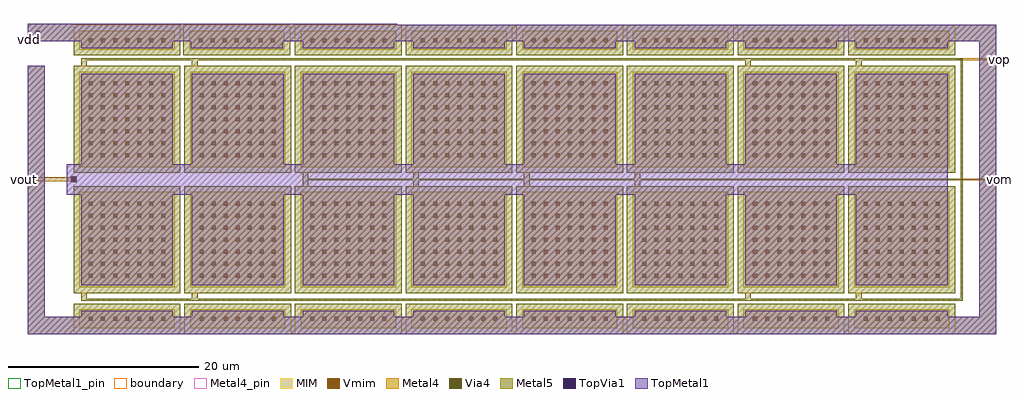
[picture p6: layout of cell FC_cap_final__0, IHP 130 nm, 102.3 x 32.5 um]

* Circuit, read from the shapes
.subckt FC_cap_final__0 vdd vom vop vout
XC1 vdd vdd cap_cmim w=10u l=2u m=16
XC2 vout vop cap_cmim w=10u l=10u m=8
XC3 vout vom cap_cmim w=10u l=10u m=8
.ends

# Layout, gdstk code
import gdstk
lib = gdstk.Library(unit=1e-6, precision=1e-09)
def R(c, l, rs):  # rectangles x0, y0, x1, y1
    for r in rs: c.add(gdstk.rectangle(r[:2], r[2:], *l))
def A(c, l, x, y, w, h, nx, ny, dx, dy):  # array of equal rectangles
    R(c, l, [(x+i*dx, y+j*dy, x+i*dx+w, y+j*dy+h) for i in range(nx) for j in range(ny)])
MIM = (36, 0)
Metal4 = (50, 0)
Metal4_pin = (50, 2)
Via4 = (66, 0)
Metal5 = (67, 0)
TopVia1 = (125, 0)
TopMetal1 = (126, 0)
TopMetal1_pin = (126, 2)
Vmim = (129, 0)
boundary = (189, 4)

cap_cmim_mv9cwz__0 = lib.new_cell('cap_cmim_MV9CWZ__0')
R(cap_cmim_mv9cwz__0, MIM, [(-5,-1,5,1)])
R(cap_cmim_mv9cwz__0, Metal5, [(-5.6,-1.6,5.6,1.6)])
R(cap_cmim_mv9cwz__0, TopMetal1, [(-4.8,-0.82,4.8,0.82)])
A(cap_cmim_mv9cwz__0, Vmim, -3.99, -0.21, 0.42, 0.42, 7, 1, 1.26, 0)
R(cap_cmim_mv9cwz__0, boundary, [(-5.6,-1.6,5.6,1.6)])
cap_cmim_mv9cwz__0.add(gdstk.Label('C1', (0,0), layer=126, texttype=25))
cap_cmim_mv9cwz__0.add(gdstk.Label('C2', (5.1,0), layer=67, texttype=25))

cap_cmim_rcjhdk__0 = lib.new_cell('cap_cmim_RCJHDK__0')
R(cap_cmim_rcjhdk__0, MIM, [(-5,-5,5,5)])
R(cap_cmim_rcjhdk__0, Metal5, [(-5.6,-5.6,5.6,5.6)])
R(cap_cmim_rcjhdk__0, TopMetal1, [(-4.8,-4.8,4.8,4.8)])
A(cap_cmim_rcjhdk__0, Vmim, -3.99, -3.99, 0.42, 0.42, 7, 7, 1.26, 1.26)
R(cap_cmim_rcjhdk__0, boundary, [(-5.6,-5.6,5.6,5.6)])
cap_cmim_rcjhdk__0.add(gdstk.Label('C1', (0,0), layer=126, texttype=25))
cap_cmim_rcjhdk__0.add(gdstk.Label('C2', (5.1,0), layer=67, texttype=25))

fc_cap_final__0 = lib.new_cell('FC_cap_final__0')
R(fc_cap_final__0, Metal4, [(-0.3,-0.8,0.35,-0.7), (-5.2,-0.7,0.35,-0.25), (91.9,-0.6,97.1,-0.4), (-0.3,-0.25,0.35,-0.15), (92.7,12,97.1,12.2)])
R(fc_cap_final__0, Metal4_pin, [(-5.2,-0.6,-5,-0.4), (96.9,-0.6,97.1,-0.4), (96.9,12,97.1,12.2)])
R(fc_cap_final__0, Via4, [(92.105,-0.595,92.295,-0.405), (-0.07,-0.57,0.12,-0.38), (92.905,12.005,93.095,12.195)])
A(fc_cap_final__0, Metal5, 24, -2, 0.6, 1.4, 4, 2, 11.6, 1.6)
R(fc_cap_final__0, Metal5, [(-4.8,-16.7,96.7,-14.9), (-4.8,-14.9,-3,11.4), (94.9,-14.9,96.7,14), (0.8,-13.2,93.2,-13), (0.8,-13,1.4,-11.6), (12.4,-13,13,-11.6), (70.4,-13,71,-11.6), (82,-13,82.6,-11.6), (93,-13,93.2,12), (-0.3,-0.8,0.35,-0.15), (24,-0.6,92.4,-0.4), (0.8,10.6,1.4,12), (12.4,10.6,13,12), (70.4,10.6,71,12), (82,10.6,82.6,12), (0.8,12,93.2,12.2), (-4.8,14,96.7,15.7), (-4.8,15.7,33.9,15.8)])
R(fc_cap_final__0, TopVia1, [(-0.185,-0.685,0.235,-0.265), (-3.96,14.69,-3.54,15.11)])
R(fc_cap_final__0, TopMetal1, [(-4.8,-16.7,96.7,-14.9), (-4.8,-14.9,-3,11.4), (94.9,-14.9,96.7,14), (-0.7,-2.1,91.6,1.1), (-4.8,14,96.7,15.7), (-4.8,15.7,33.9,15.8)])
R(fc_cap_final__0, TopMetal1_pin, [(-4.8,14,-4.4,14.4)])
fc_cap_final__0.add(gdstk.Reference(cap_cmim_mv9cwz__0, (5.6,-15.1)))
fc_cap_final__0.add(gdstk.Reference(cap_cmim_rcjhdk__0, (5.6,-6.8)))
fc_cap_final__0.add(gdstk.Reference(cap_cmim_mv9cwz__0, (17.2,-15.1)))
fc_cap_final__0.add(gdstk.Reference(cap_cmim_rcjhdk__0, (17.2,-6.8)))
fc_cap_final__0.add(gdstk.Reference(cap_cmim_mv9cwz__0, (28.8,-15.1)))
fc_cap_final__0.add(gdstk.Reference(cap_cmim_rcjhdk__0, (28.8,-6.8)))
fc_cap_final__0.add(gdstk.Reference(cap_cmim_mv9cwz__0, (40.4,-15.1)))
fc_cap_final__0.add(gdstk.Reference(cap_cmim_rcjhdk__0, (40.4,-6.8)))
fc_cap_final__0.add(gdstk.Reference(cap_cmim_mv9cwz__0, (52,-15.1)))
fc_cap_final__0.add(gdstk.Reference(cap_cmim_rcjhdk__0, (52,-6.8)))
fc_cap_final__0.add(gdstk.Reference(cap_cmim_mv9cwz__0, (63.6,-15.1)))
fc_cap_final__0.add(gdstk.Reference(cap_cmim_rcjhdk__0, (63.6,-6.8)))
fc_cap_final__0.add(gdstk.Reference(cap_cmim_mv9cwz__0, (75.2,-15.1)))
fc_cap_final__0.add(gdstk.Reference(cap_cmim_rcjhdk__0, (75.2,-6.8)))
fc_cap_final__0.add(gdstk.Reference(cap_cmim_mv9cwz__0, (86.8,-15.1)))
fc_cap_final__0.add(gdstk.Reference(cap_cmim_rcjhdk__0, (86.8,-6.8)))
fc_cap_final__0.add(gdstk.Reference(cap_cmim_rcjhdk__0, (5.6,5.8)))
fc_cap_final__0.add(gdstk.Reference(cap_cmim_rcjhdk__0, (17.2,5.8)))
fc_cap_final__0.add(gdstk.Reference(cap_cmim_rcjhdk__0, (28.8,5.8)))
fc_cap_final__0.add(gdstk.Reference(cap_cmim_rcjhdk__0, (40.4,5.8)))
fc_cap_final__0.add(gdstk.Reference(cap_cmim_rcjhdk__0, (52,5.8)))
fc_cap_final__0.add(gdstk.Reference(cap_cmim_rcjhdk__0, (63.6,5.8)))
fc_cap_final__0.add(gdstk.Reference(cap_cmim_rcjhdk__0, (75.2,5.8)))
fc_cap_final__0.add(gdstk.Reference(cap_cmim_rcjhdk__0, (86.8,5.8)))
fc_cap_final__0.add(gdstk.Reference(cap_cmim_mv9cwz__0, (5.6,14.1)))
fc_cap_final__0.add(gdstk.Reference(cap_cmim_mv9cwz__0, (17.1,14.1)))
fc_cap_final__0.add(gdstk.Reference(cap_cmim_mv9cwz__0, (28.8,14.1)))
fc_cap_final__0.add(gdstk.Reference(cap_cmim_mv9cwz__0, (40.4,14.1)))
fc_cap_final__0.add(gdstk.Reference(cap_cmim_mv9cwz__0, (52,14.1)))
fc_cap_final__0.add(gdstk.Reference(cap_cmim_mv9cwz__0, (63.6,14.1)))
fc_cap_final__0.add(gdstk.Reference(cap_cmim_mv9cwz__0, (75.2,14.1)))
fc_cap_final__0.add(gdstk.Reference(cap_cmim_mv9cwz__0, (86.8,14.1)))
fc_cap_final__0.add(gdstk.Label('vdd', (-4.6,14.2), layer=126, texttype=25))
fc_cap_final__0.add(gdstk.Label('vout', (-5.1,-0.5), layer=50, texttype=25))
fc_cap_final__0.add(gdstk.Label('vop', (97,12.1), layer=50, texttype=25))
fc_cap_final__0.add(gdstk.Label('vom', (97,-0.5), layer=50, texttype=25))

lib.write_gds('FC_cap_final__0.gds')
